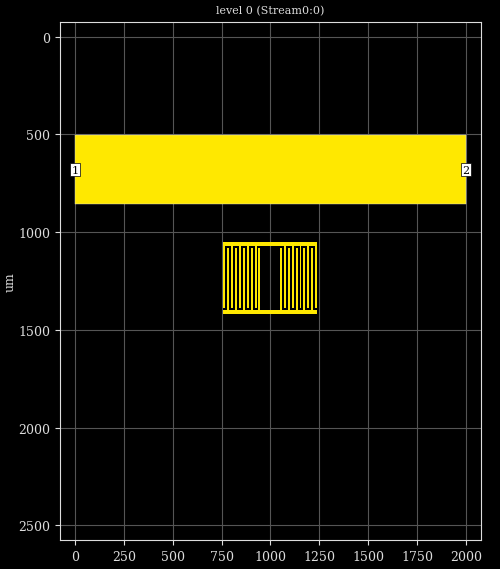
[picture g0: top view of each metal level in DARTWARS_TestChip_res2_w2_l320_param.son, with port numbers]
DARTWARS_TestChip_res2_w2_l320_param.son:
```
FTYP SONPROJ 19 ! Sonnet Project File
VER 18.56
HEADER
LIC infn2.1.72556
DAT 05/13/2025 16:38:09
BUILT_BY_CREATED gds 18.52 07/26/2022 10:51:37
BUILT_BY_SAVED sonnet 18.56
MDATE 05/13/2025 15:14:41
HDATE 05/13/2025 15:14:41
END HEADER
DIM
ANG DEG
CAP PF
CON /OH
FREQ GHZ
IND NH
LNG UM
RES OH
END DIM
CONTROL
VARSWP
OPTIONS  -d
SPEED 0
CACHE_ABS 2
Q_ACC N
END CONTROL
GEO
TMET "Lossless" 0 SUP 0 0 0 0
BMET "Lossless" 0 SUP 0 0 0 0
MET "NbTiN" 1 SUP 0 0 0 "Lk"
BOX 1 2000 2500 4000 5000 20 0
      1000 1 1 0 0 0 0 "Air"
      525 11.9 1 0 0 0 0 "Si"
TECHLAY METAL Stream0:0 <UNSPECIFIED> 0 0 
0 0 0 N 293 1 1 100 100 0 0 0 Y
END
END
VALVAR Lk NONE 8.5 "Kinetic Inductance"
VALVAR L LNG 295 "Dim. Param."
VALVAR D2 LNG "(l+10)/2" "Dim. Param. D2"
VALVAR D1 LNG "(l+10)/2" "Dim. Param. D1"
VALVAR l LNG 320 "Dim. Param."
DIM STD XDIR 1
POS 1767.313907 -98.82525393
NOM 2000
REF1 POLY 105 1
1
REF2 POLY 105 1
2
END
DIM STD XDIR 1
POS 50.49967037 -33.50485895
NOM 49
REF1 POLY 187 1
0
REF2 POLY 256 1
1
END
DIM STD XDIR 1
POS 46.49514105 -23.69284083
NOM 49
REF1 POLY 256 1
0
REF2 POLY 244 1
19
END
DIM STD YDIR -1
POS -41.66113557 -102.5713111
NOM 195
REF1 POLY 247 1
1
REF2 POLY 105 1
0
END
DIM STD XDIR 1
POS 0.9063383466 -34.96668594
NOM 2
REF1 POLY 256 1
1
REF2 POLY 256 1
0
END
LORGN 0 2500 U 
POR1 BOX
POLY 105 1
0
1 50 0 0 0 0 680 
POR1 BOX
POLY 105 1
2
2 50 0 0 0 2000 680 
NUM 15
0 5 0 N 105 1 1 100 100 0 0 0 Y
TLAYNAM Stream0:0 INH
0 855
0 505
2000 505
2000 855
0 855
END
0 5 0 N 170 1 1 100 100 0 0 0 Y
TLAYNAM Stream0:0 INH
809 1070
799 1070
799 1390
809 1390
809 1070
END
0 5 0 N 172 1 1 100 100 0 0 0 Y
TLAYNAM Stream0:0 INH
849 1070
839 1070
839 1390
849 1390
849 1070
END
0 5 0 N 174 1 1 100 100 0 0 0 Y
TLAYNAM Stream0:0 INH
889 1070
879 1070
879 1390
889 1390
889 1070
END
0 5 0 N 176 1 1 100 100 0 0 0 Y
TLAYNAM Stream0:0 INH
929 1070
919 1070
919 1390
929 1390
929 1070
END
0 5 0 N 178 1 1 100 100 0 0 0 Y
TLAYNAM Stream0:0 INH
789 1080
779 1080
779 1400
789 1400
789 1080
END
0 5 0 N 181 1 1 100 100 0 0 0 Y
TLAYNAM Stream0:0 INH
829 1080
819 1080
819 1400
829 1400
829 1080
END
0 5 0 N 183 1 1 100 100 0 0 0 Y
TLAYNAM Stream0:0 INH
869 1080
859 1080
859 1400
869 1400
869 1080
END
0 5 0 N 185 1 1 100 100 0 0 0 Y
TLAYNAM Stream0:0 INH
909 1080
899 1080
899 1400
909 1400
909 1080
END
0 5 0 N 187 1 1 100 100 0 0 0 Y
TLAYNAM Stream0:0 INH
949 1080
939 1080
939 1400
949 1400
949 1080
END
0 25 0 N 244 1 1 100 100 0 0 0 Y
TLAYNAM Stream0:0 INH
1239 1400
1219 1400
1219 1080
1209 1080
1209 1400
1179 1400
1179 1080
1169 1080
1169 1400
1139 1400
1139 1080
1129 1080
1129 1400
1099 1400
1099 1080
1089 1080
1089 1400
1059 1400
1059 1080
1049 1080
1049 1400
759 1400
759 1420
1239 1420
1239 1400
END
0 23 0 N 247 1 1 100 100 0 0 0 Y
TLAYNAM Stream0:0 INH
1239 1050
759 1050
759 1070
1069 1070
1069 1390
1079 1390
1079 1070
1109 1070
1109 1390
1119 1390
1119 1070
1149 1070
1149 1390
1159 1390
1159 1070
1189 1070
1189 1390
1199 1390
1199 1070
1229 1070
1229 1390
1239 1390
1239 1050
END
0 5 0 N 249 1 1 100 100 0 0 0 Y
TLAYNAM Stream0:0 INH
769 1070
759 1070
759 1390
769 1390
769 1070
END
0 5 0 N 256 1 1 100 100 0 0 0 Y
TLAYNAM Stream0:0 INH
1000 1070
998 1070
998 1235
1000 1235
1000 1070
END
0 5 0 N 283 1 1 100 100 0 0 0 Y
TLAYNAM Stream0:0 INH
1000 1235
998 1235
998 1400
1000 1400
1000 1235
END
END GEO
OPT
MAX 100
END OPT
VARSWP
SWPVARS ON
ENABLED Y
FREQ Y AY ABS_ENTRY 12.0 13.0 -1 5000 
VAR Lk Y 0.0 0.0 0.5
VAR l N 200.0 600.0 10.0
END
END VARSWP
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```
